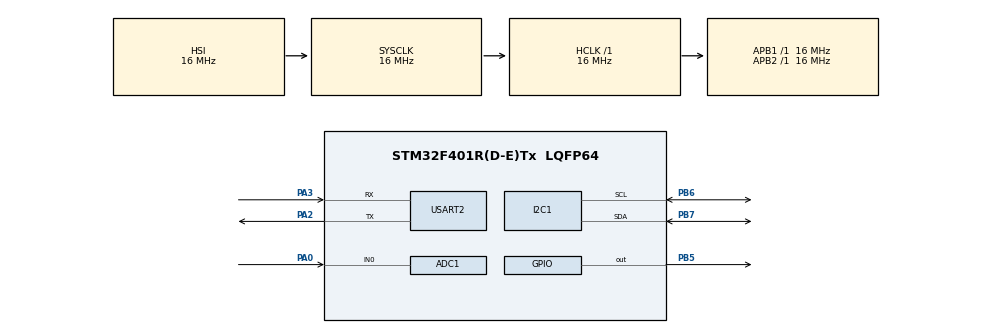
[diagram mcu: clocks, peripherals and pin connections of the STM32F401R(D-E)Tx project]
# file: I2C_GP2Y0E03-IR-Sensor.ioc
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ADC1.Channel-2\#ChannelRegularConversion=ADC_CHANNEL_0
ADC1.NbrOfConversionFlag=1
ADC1.Rank-2\#ChannelRegularConversion=1
ADC1.SamplingTime-2\#ChannelRegularConversion=ADC_SAMPLETIME_3CYCLES
ADC1.master=1
Mcu.Family=STM32F4
Mcu.Name=STM32F401R(D-E)Tx
Mcu.Package=LQFP64
NVIC.PriorityGroup=NVIC_PRIORITYGROUP_4
PA0-WKUP.Signal=ADCx_IN0
PA2.Mode=Asynchronous
PA2.Signal=USART2_TX
PA3.Mode=Asynchronous
PA3.Signal=USART2_RX
PB5.GPIO_ModeDefaultOutputPP=GPIO_MODE_OUTPUT_PP
PB5.GPIO_PuPd=GPIO_PULLUP
PB5.PinState=GPIO_PIN_SET
PB5.Signal=GPIO_Output
PB6.GPIO_Pu=GPIO_PULLUP
PB6.Mode=I2C
PB6.Signal=I2C1_SCL
PB7.GPIO_Pu=GPIO_PULLUP
PB7.Mode=I2C
PB7.Signal=I2C1_SDA
ProjectManager.HeapSize=0x200
ProjectManager.StackSize=0x400
ProjectManager.TargetToolchain=STM32CubeIDE
RCC.AHBFreq_Value=16000000
RCC.APB1Freq_Value=16000000
RCC.APB2Freq_Value=16000000
RCC.CortexFreq_Value=16000000
RCC.HSE_VALUE=25000000
RCC.HSI_VALUE=16000000
RCC.LSE_VALUE=32768
RCC.SYSCLKFreq_VALUE=16000000
RCC.VCOOutputFreq_Value=192000000
SH.ADCx_IN0.0=ADC1_IN0,IN0
USART2.VirtualMode=VM_ASYNC
board=custom

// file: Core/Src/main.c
/* USER CODE BEGIN Header */
/**
  ******************************************************************************
  * @file           : main.c
  * @brief          : Main program body
  ******************************************************************************
  * @attention
  *
  * Copyright (c) 2025 STMicroelectronics.
  * All rights reserved.
  *
  * This software is licensed under terms that can be found in the LICENSE file
  * in the root directory of this software component.
  * If no LICENSE file comes with this software, it is provided AS-IS.
  *
  ******************************************************************************
  */
/* USER CODE END Header */
#include "main.h"

/* USER CODE BEGIN Includes */
#include <stdio.h>
/* USER CODE END Includes */

/* USER CODE BEGIN PD */
#define SLAVE_ADDRESS_GP2Y0E03 0x80
#define REGISTER_ADDRESS_GP2Y0E03_SHIFT_BIT 0x35
#define REGISTER_ADDRESS_GP2Y0E03_DISTANCE1 0x5E
#define REGISTER_ADDRESS_GP2Y0E03_DISTANCE2 0x5F
#define REGISTER_SIZE 1
#define BUFFER_SIZE_DISTANCE 1
#define BUFFER_SIZE_SHIFT_BIT 1
/* USER CODE END PD */

ADC_HandleTypeDef hadc1;

I2C_HandleTypeDef hi2c1;

UART_HandleTypeDef huart2;

void SystemClock_Config(void);
static void MX_GPIO_Init(void);
static void MX_I2C1_Init(void);
static void MX_USART2_UART_Init(void);
static void MX_ADC1_Init(void);

/* USER CODE BEGIN 0 */
// modify printf to UART for debug
int __io_putchar(int ch) {
  HAL_UART_Transmit(&huart2, (uint8_t *)&ch, 1, HAL_MAX_DELAY);
  return ch;
}

HAL_StatusTypeDef change_shift_bit(uint8_t *read_buffer_shift_bit, uint8_t *write_buffer_shift_bit)
{
  HAL_StatusTypeDef hal_i2c_read_shift_bit_status = HAL_I2C_Mem_Read(&hi2c1, SLAVE_ADDRESS_GP2Y0E03, REGISTER_ADDRESS_GP2Y0E03_SHIFT_BIT,
                                          REGISTER_SIZE, read_buffer_shift_bit, BUFFER_SIZE_SHIFT_BIT, HAL_MAX_DELAY);
  if (hal_i2c_read_shift_bit_status == HAL_OK)
  {
    printf("[I2C Read] Success, shift bit: %d\r\n", *read_buffer_shift_bit);
    if (*read_buffer_shift_bit == 0x01) *write_buffer_shift_bit = 0x02;
    else *write_buffer_shift_bit = 0x01;
  }
  else
  {
    printf("[I2C Read] Fail, shift bit can't be read\r\n");
    return HAL_ERROR;
  }

  HAL_StatusTypeDef hal_i2c_write_shift_bit_status = HAL_I2C_Mem_Write(&hi2c1, SLAVE_ADDRESS_GP2Y0E03, REGISTER_ADDRESS_GP2Y0E03_SHIFT_BIT,
                                          REGISTER_SIZE, write_buffer_shift_bit, BUFFER_SIZE_SHIFT_BIT, HAL_MAX_DELAY);
  if (hal_i2c_write_shift_bit_status == HAL_OK)
  {
    printf("[I2C Write] Success, shit bit is changed.\r\n");
  }
  else
  {
    printf("[I2C Write] Fail can't be changed.\r\n");
    return HAL_ERROR;
  }

  hal_i2c_read_shift_bit_status = HAL_I2C_Mem_Read(&hi2c1, SLAVE_ADDRESS_GP2Y0E03, REGISTER_ADDRESS_GP2Y0E03_SHIFT_BIT,
                                          REGISTER_SIZE, read_buffer_shift_bit, BUFFER_SIZE_SHIFT_BIT, HAL_MAX_DELAY);
  if (hal_i2c_read_shift_bit_status  == HAL_OK)
  {
    printf("[I2C Read] Success, shift bit: %d\r\n", *read_buffer_shift_bit);
  }
  else
  {
    printf("[I2C Read] Fail, shift bit can't be read\r\n");
    return HAL_ERROR;
  }

  return HAL_OK;
}
/* USER CODE END 0 */

int main(void)
{

  /* MCU Configuration--------------------------------------------------------*/

  /* Reset of all peripherals, Initializes the Flash interface and the Systick. */
  HAL_Init();

  /* Configure the system clock */
  SystemClock_Config();

  /* Initialize all configured peripherals */
  MX_GPIO_Init();
  MX_I2C1_Init();
  MX_USART2_UART_Init();
  MX_ADC1_Init();
  /* USER CODE BEGIN 2 */
  HAL_StatusTypeDef i2c1_ready_hal_status;
  for (uint8_t try_address = 0; try_address < 128; try_address++)
  {
    uint16_t shifted_try_address = try_address << 1;
    // uint8_t try_address_info[sizeof(desc)+sizeof(try_address)+4];
    // sprintf(try_address_info, "%s0x%x\r\n", desc, try_address << 1);

    i2c1_ready_hal_status = HAL_I2C_IsDeviceReady(&hi2c1, shifted_try_address, 2, 100);
    if (i2c1_ready_hal_status == HAL_OK)
    {
      printf("\r\n[I2C Ready] Success !!!!!!! >>> 0x%x\r\n", try_address << 1);
    }
    else
    {
      printf("0x%x ", try_address << 1);
    }
  }
  printf("\r\n");

  /* USER CODE END 2 */

  /* Infinite loop */
  /* USER CODE BEGIN WHILE */
  uint32_t adc_value;
  uint8_t read_buffer_distance1, read_buffer_distance2;
  uint8_t read_buffer_shift_bit, write_buffer_shift_bit;
  int distance_result;
  HAL_StatusTypeDef hal_i2c_read_distance1_status, hal_i2c_read_distance2_status;
  HAL_StatusTypeDef hal_adc_status, hal_adc_pull_status;
  HAL_StatusTypeDef hal_change_shift_bit_status = change_shift_bit(&read_buffer_shift_bit, &write_buffer_shift_bit);

  while (1)
  {
    // Get distance value from distance register by I2C
    hal_i2c_read_distance1_status = HAL_I2C_Mem_Read(&hi2c1, SLAVE_ADDRESS_GP2Y0E03, REGISTER_ADDRESS_GP2Y0E03_DISTANCE1,
                                          REGISTER_SIZE, &read_buffer_distance1, BUFFER_SIZE_DISTANCE, 100);
    hal_i2c_read_distance2_status = HAL_I2C_Mem_Read(&hi2c1, SLAVE_ADDRESS_GP2Y0E03, REGISTER_ADDRESS_GP2Y0E03_DISTANCE2,
                                          REGISTER_SIZE, &read_buffer_distance2, BUFFER_SIZE_DISTANCE, 100);

    if (hal_change_shift_bit_status == HAL_OK && hal_i2c_read_distance1_status == HAL_OK && hal_i2c_read_distance2_status == HAL_OK)
    {
      distance_result = (read_buffer_distance1 * 16 + read_buffer_distance2) / 16 / 2 ^ read_buffer_shift_bit;
      printf("[I2C distance_result] %d cm\r\n", distance_result);
    }
    else
    {
      printf("[Vout(A) distance_result] FAIL, shift_bit change status: %d, distance1 read status: %d, distance2 read status: %d\r\n",
              hal_change_shift_bit_status, hal_i2c_read_distance1_status, hal_i2c_read_distance2_status);
    }
    printf("----------------------------------------\r\n");

    // Get the value of Vout(A) modified for ADC
    hal_adc_status = HAL_ADC_Start(&hadc1);
    hal_adc_pull_status = HAL_ADC_PollForConversion(&hadc1, HAL_MAX_DELAY);
    if (hal_adc_status == HAL_OK && hal_adc_pull_status == HAL_OK)
    {
      adc_value = HAL_ADC_GetValue(&hadc1);
      printf("[Vout(A) ADC_VALUE] %ld mV\r\n", adc_value);
      HAL_ADC_Stop(&hadc1);
    }
    else if (hal_adc_status != HAL_OK)
    {
      printf("[Vout(A) ADC_VALUE] HAL_ADC_Start is FAIL, HAL status: %d\r\n", hal_adc_status);
    }
    else // else if (hal_adc_pull_status != HAL_OK)
    {
      printf("[Vout(A) ADC_VALUE] HAL_ADC_PollForConversion is FAIL, HAL status: %d\r\n", hal_adc_pull_status);
    }
    printf("========================================\r\n");
    HAL_Delay(100);
    /* USER CODE END WHILE */

  }
}

void SystemClock_Config(void)
{
  RCC_OscInitTypeDef RCC_OscInitStruct = {0};
  RCC_ClkInitTypeDef RCC_ClkInitStruct = {0};

  /** Configure the main internal regulator output voltage
  */
  __HAL_RCC_PWR_CLK_ENABLE();
  __HAL_PWR_VOLTAGESCALING_CONFIG(PWR_REGULATOR_VOLTAGE_SCALE2);

  /** Initializes the RCC Oscillators according to the specified parameters
  * in the RCC_OscInitTypeDef structure.
  */
  RCC_OscInitStruct.OscillatorType = RCC_OSCILLATORTYPE_HSI;
  RCC_OscInitStruct.HSIState = RCC_HSI_ON;
  RCC_OscInitStruct.HSICalibrationValue = RCC_HSICALIBRATION_DEFAULT;
  RCC_OscInitStruct.PLL.PLLState = RCC_PLL_NONE;
  if (HAL_RCC_OscConfig(&RCC_OscInitStruct) != HAL_OK)
  {
    Error_Handler();
  }

  /** Initializes the CPU, AHB and APB buses clocks
  */
  RCC_ClkInitStruct.ClockType = RCC_CLOCKTYPE_HCLK|RCC_CLOCKTYPE_SYSCLK
                              |RCC_CLOCKTYPE_PCLK1|RCC_CLOCKTYPE_PCLK2;
  RCC_ClkInitStruct.SYSCLKSource = RCC_SYSCLKSOURCE_HSI;
  RCC_ClkInitStruct.AHBCLKDivider = RCC_SYSCLK_DIV1;
  RCC_ClkInitStruct.APB1CLKDivider = RCC_HCLK_DIV1;
  RCC_ClkInitStruct.APB2CLKDivider = RCC_HCLK_DIV1;

  if (HAL_RCC_ClockConfig(&RCC_ClkInitStruct, FLASH_LATENCY_0) != HAL_OK)
  {
    Error_Handler();
  }
}

static void MX_ADC1_Init(void)
{

  ADC_ChannelConfTypeDef sConfig = {0};

  /** Configure the global features of the ADC (Clock, Resolution, Data Alignment and number of conversion)
  */
  hadc1.Instance = ADC1;
  hadc1.Init.ClockPrescaler = ADC_CLOCK_SYNC_PCLK_DIV2;
  hadc1.Init.Resolution = ADC_RESOLUTION_12B;
  hadc1.Init.ScanConvMode = DISABLE;
  hadc1.Init.ContinuousConvMode = DISABLE;
  hadc1.Init.DiscontinuousConvMode = DISABLE;
  hadc1.Init.ExternalTrigConvEdge = ADC_EXTERNALTRIGCONVEDGE_NONE;
  hadc1.Init.ExternalTrigConv = ADC_SOFTWARE_START;
  hadc1.Init.DataAlign = ADC_DATAALIGN_RIGHT;
  hadc1.Init.NbrOfConversion = 1;
  hadc1.Init.DMAContinuousRequests = DISABLE;
  hadc1.Init.EOCSelection = ADC_EOC_SINGLE_CONV;
  if (HAL_ADC_Init(&hadc1) != HAL_OK)
  {
    Error_Handler();
  }

  /** Configure for the selected ADC regular channel its corresponding rank in the sequencer and its sample time.
  */
  sConfig.Channel = ADC_CHANNEL_0;
  sConfig.Rank = 1;
  sConfig.SamplingTime = ADC_SAMPLETIME_3CYCLES;
  if (HAL_ADC_ConfigChannel(&hadc1, &sConfig) != HAL_OK)
  {
    Error_Handler();
  }

}

static void MX_I2C1_Init(void)
{

  hi2c1.Instance = I2C1;
  hi2c1.Init.ClockSpeed = 100000;
  hi2c1.Init.DutyCycle = I2C_DUTYCYCLE_2;
  hi2c1.Init.OwnAddress1 = 0;
  hi2c1.Init.AddressingMode = I2C_ADDRESSINGMODE_7BIT;
  hi2c1.Init.DualAddressMode = I2C_DUALADDRESS_DISABLE;
  hi2c1.Init.OwnAddress2 = 0;
  hi2c1.Init.GeneralCallMode = I2C_GENERALCALL_DISABLE;
  hi2c1.Init.NoStretchMode = I2C_NOSTRETCH_DISABLE;
  if (HAL_I2C_Init(&hi2c1) != HAL_OK)
  {
    Error_Handler();
  }

}

static void MX_USART2_UART_Init(void)
{

  huart2.Instance = USART2;
  huart2.Init.BaudRate = 115200;
  huart2.Init.WordLength = UART_WORDLENGTH_8B;
  huart2.Init.StopBits = UART_STOPBITS_1;
  huart2.Init.Parity = UART_PARITY_NONE;
  huart2.Init.Mode = UART_MODE_TX_RX;
  huart2.Init.HwFlowCtl = UART_HWCONTROL_NONE;
  huart2.Init.OverSampling = UART_OVERSAMPLING_16;
  if (HAL_UART_Init(&huart2) != HAL_OK)
  {
    Error_Handler();
  }

}

static void MX_GPIO_Init(void)
{
  GPIO_InitTypeDef GPIO_InitStruct = {0};

  /* GPIO Ports Clock Enable */
  __HAL_RCC_GPIOA_CLK_ENABLE();
  __HAL_RCC_GPIOB_CLK_ENABLE();

  /*Configure GPIO pin Output Level */
  HAL_GPIO_WritePin(GPIOB, GPIO_PIN_5, GPIO_PIN_SET);

  /*Configure GPIO pin : PB5 */
  GPIO_InitStruct.Pin = GPIO_PIN_5;
  GPIO_InitStruct.Mode = GPIO_MODE_OUTPUT_PP;
  GPIO_InitStruct.Pull = GPIO_PULLUP;
  GPIO_InitStruct.Speed = GPIO_SPEED_FREQ_LOW;
  HAL_GPIO_Init(GPIOB, &GPIO_InitStruct);

}

void Error_Handler(void)
{
  __disable_irq();
  while (1)
  {
  }
}
